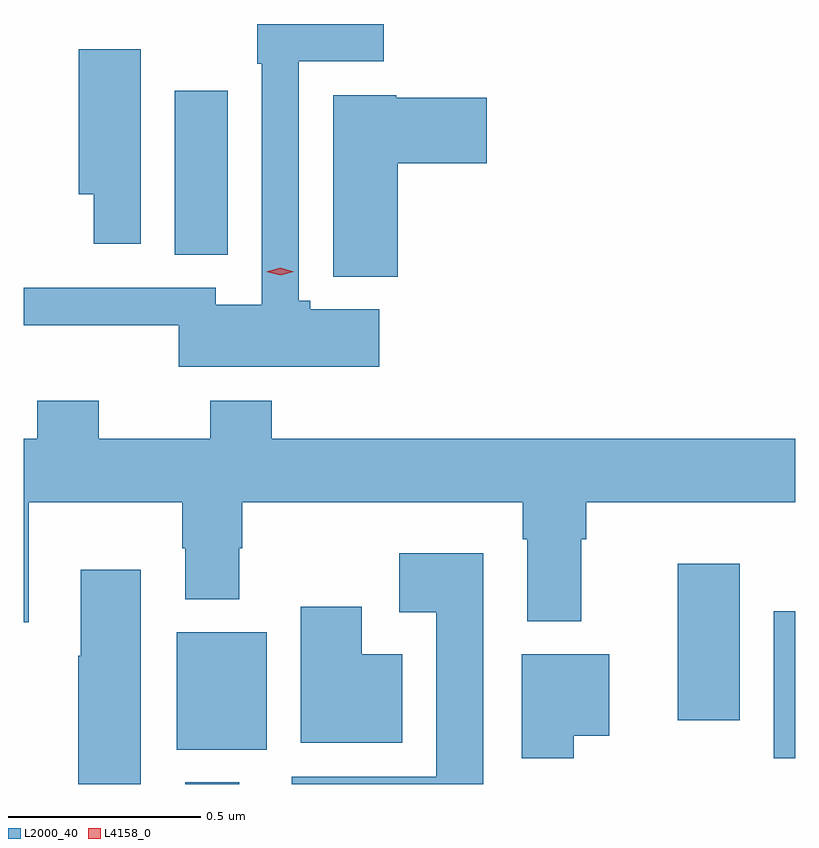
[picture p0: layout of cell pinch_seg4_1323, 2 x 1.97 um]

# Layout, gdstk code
import gdstk
lib = gdstk.Library(unit=1e-6, precision=1e-09)
def R(c, l, rs):  # rectangles x0, y0, x1, y1
    for r in rs: c.add(gdstk.rectangle(r[:2], r[2:], *l))
def P(c, l, *ps):  # polygons
    for p in ps: c.add(gdstk.Polygon(p, *l))
L2000_40 = (2000, 40)
L4158_0 = (4158, 0)

pinch_seg4_1323 = lib.new_cell('pinch_seg4_1323')
R(pinch_seg4_1323, L2000_40, [(282.593,760.125,282.733,760.129), (284.12,760.192,284.175,760.573), (282.572,760.214,282.805,760.519), (283.871,760.29,284.032,760.696), (282.566,761.497,282.703,761.923)])
P(pinch_seg4_1323, L2000_40, [(283.096,761.356),(282.918,761.356),(282.918,761.378),(282.888,761.378),(282.888,762),(283.108,762),(283.108,762.096),(282.78,762.096),(282.78,761.993),(282.792,761.993),(282.792,761.368),(282.672,761.368),(282.672,761.412),(282.175,761.412),(282.175,761.315),(282.576,761.315),(282.576,761.207),(283.096,761.207)],
  [(282.478,762.031),(282.317,762.031),(282.317,761.654),(282.356,761.654),(282.356,761.526),(282.478,761.526)],
  [(283.144,761.735),(283.375,761.735),(283.375,761.905),(283.14,761.905),(283.14,761.911),(282.977,761.911),(282.977,761.441),(283.144,761.441)],
  [(282.187,760.856),(282.586,760.856),(282.586,760.736),(282.593,760.736),(282.593,760.604),(282.733,760.604),(282.733,760.736),(282.741,760.736),(282.741,760.856),(283.469,760.856),(283.469,760.76),(283.481,760.76),(283.481,760.547),(283.621,760.547),(283.621,760.76),(283.634,760.76),(283.634,760.856),(284.175,760.856),(284.175,761.02),(282.818,761.02),(282.818,761.119),(282.658,761.119),(282.658,761.02),(282.369,761.02),(282.369,761.119),(282.209,761.119),(282.209,761.02),(282.175,761.02),(282.175,760.545),(282.187,760.545)],
  [(283.366,760.723),(283.149,760.723),(283.149,760.571),(283.244,760.571),(283.244,760.144),(282.869,760.144),(282.869,760.125),(283.366,760.125)],
  [(282.478,760.681),(282.323,760.681),(282.323,760.457),(282.316,760.457),(282.316,760.125),(282.478,760.125)],
  [(283.156,760.462),(283.051,760.462),(283.051,760.585),(282.893,760.585),(282.893,760.232),(283.156,760.232)],
  [(283.601,760.25),(283.693,760.25),(283.693,760.462),(283.466,760.462),(283.466,760.192),(283.601,760.192)])
P(pinch_seg4_1323, L4158_0, [(282.84,761.444),(282.804,761.453),(282.804,761.454),(282.804,761.454),(282.84,761.464),(282.875,761.454),(282.875,761.454),(282.875,761.453)])

lib.write_gds('pinch_seg4_1323.gds')
